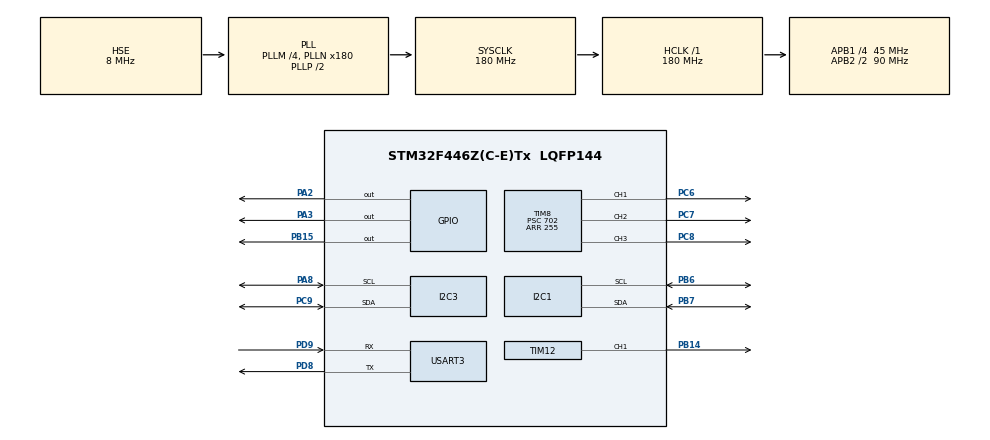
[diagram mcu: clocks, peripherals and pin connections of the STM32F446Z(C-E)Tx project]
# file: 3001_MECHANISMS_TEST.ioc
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Mcu.Family=STM32F4
Mcu.Name=STM32F446Z(C-E)Tx
Mcu.Package=LQFP144
NVIC.PriorityGroup=NVIC_PRIORITYGROUP_4
PA0-WKUP.Signal=S_TIM5_CH1
PA1.Signal=S_TIM5_CH2
PA2.Signal=GPIO_Output
PA3.Signal=GPIO_Output
PA8.Mode=I2C
PA8.Signal=I2C3_SCL
PB14.Signal=S_TIM12_CH1
PB15.Signal=GPIO_Output
PB6.Mode=I2C
PB6.Signal=I2C1_SCL
PB7.Mode=I2C
PB7.Signal=I2C1_SDA
PC14-OSC32_IN.Mode=LSE-External-Oscillator
PC14-OSC32_IN.Signal=RCC_OSC32_IN
PC15-OSC32_OUT.Mode=LSE-External-Oscillator
PC15-OSC32_OUT.Signal=RCC_OSC32_OUT
PC6.Signal=S_TIM8_CH1
PC7.Signal=S_TIM8_CH2
PC8.Signal=S_TIM8_CH3
PC9.Mode=I2C
PC9.Signal=I2C3_SDA
PD8.Mode=Asynchronous
PD8.Signal=USART3_TX
PD9.Mode=Asynchronous
PD9.Signal=USART3_RX
PH0-OSC_IN.Mode=HSE-External-Oscillator
PH0-OSC_IN.Signal=RCC_OSC_IN
PH1-OSC_OUT.Mode=HSE-External-Oscillator
PH1-OSC_OUT.Signal=RCC_OSC_OUT
ProjectManager.HeapSize=0x200
ProjectManager.StackSize=0x400
ProjectManager.TargetToolchain=STM32CubeIDE
RCC.48MHZClocksFreq_Value=24000000
RCC.AHBFreq_Value=180000000
RCC.APB1CLKDivider=RCC_HCLK_DIV4
RCC.APB1Freq_Value=45000000
RCC.APB1TimFreq_Value=90000000
RCC.APB2CLKDivider=RCC_HCLK_DIV2
RCC.APB2Freq_Value=90000000
RCC.APB2TimFreq_Value=180000000
RCC.CortexFreq_Value=180000000
RCC.HCLKFreq_Value=180000000
RCC.HSE_VALUE=8000000
RCC.HSI_VALUE=16000000
RCC.PLLM=4
RCC.PLLMUL=RCC_PLL_MUL9
RCC.PLLN=180
RCC.PLLSourceVirtual=RCC_PLLSOURCE_HSE
RCC.PRESCALERUSB=RCC_USBCLKSOURCE_PLL_DIV1_5
RCC.SYSCLKFreq_VALUE=180000000
RCC.SYSCLKSource=RCC_SYSCLKSOURCE_PLLCLK
RCC.SYSCLKSourceVirtual=RCC_SYSCLKSOURCE_PLLCLK
RCC.USBFreq_Value=180000000
RCC.VCOOutputFreq_Value=360000000
SH.S_TIM12_CH1.0=TIM12_CH1,PWM Generation1 CH1
SH.S_TIM5_CH1.0=TIM5_CH1
SH.S_TIM5_CH2.0=TIM5_CH2
SH.S_TIM8_CH1.0=TIM8_CH1,PWM Generation1 CH1
SH.S_TIM8_CH2.0=TIM8_CH2,PWM Generation2 CH2
SH.S_TIM8_CH3.0=TIM8_CH3,PWM Generation3 CH3
TIM12.Channel-PWM\ Generation1\ CH1=TIM_CHANNEL_1
TIM12.Prescaler=351
TIM5.Period=255-1
TIM5.Prescaler=351
TIM8.Channel-PWM\ Generation1\ CH1=TIM_CHANNEL_1
TIM8.Channel-PWM\ Generation2\ CH2=TIM_CHANNEL_2
TIM8.Channel-PWM\ Generation3\ CH3=TIM_CHANNEL_3
TIM8.Period=255
TIM8.Prescaler=702
USART3.VirtualMode=VM_ASYNC
VP_TIM12_VS_ClockSourceINT.Mode=Internal
VP_TIM5_VS_ClockSourceINT.Mode=Internal
VP_TIM8_VS_ClockSourceINT.Mode=Internal
board=NUCLEO-F446ZE

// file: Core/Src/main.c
/* USER CODE BEGIN Header */
/**
 ******************************************************************************
 * @file           : main.c
 * @brief          : Main program body
 ******************************************************************************
 * @attention
 *
 * Copyright (c) 2026 STMicroelectronics.
 * All rights reserved.
 *
 * This software is licensed under terms that can be found in the LICENSE file
 * in the root directory of this software component.
 * If no LICENSE file comes with this software, it is provided AS-IS.
 *
 ******************************************************************************
 */
/* USER CODE END Header */
#include "main.h"

/* USER CODE BEGIN Includes */
#include<stdio.h>
#include<stdbool.h>
#include<stdint.h>
#include<string.h>
#include<math.h>
#include<stdlib.h>

#include "Encoderlib.h"
#include "BTS7960.h"
#include "PCA9685.h"
#include "Cytron.h"
#include "SPIT.h"
/* USER CODE END Includes */

/* USER CODE BEGIN PTD */
#define DATA_SIZE 		7
#define SLAVE_ADDR 		8
#define DEADZONE  		20

/* USER CODE END PTD */

/* USER CODE BEGIN PD */
// ================== UTILITY ==================
#define PI          		3.14159265358979323846
#define RADIUS      		1
#define LENGTH      		1
#define MAX_PWM     		120
#define LINEAR_PWM  		50
#define DEADZONE    		20
#define dt          		0.001
#define CYTRON_FORWARD		1
#define CYTRON_BACKWARD     0

typedef struct{
	bool prevState;
	bool flag;
}Button;

// ================== KFS PLACING ==================
BTS KFS_PLACE_MOTOR;
PCA_t PCA;

Button KFSPlaceServo = { 0 };

#define KFS_PLACE_CONVEYOR_SPEED 	60
#define KFS_PLACE_MOTOR_FREQ		1000
#define KFS_PLACE_LPWM_APB_BUS		2
#define KFS_PLACE_RPWM_APB_BUS		2
#define KFS_PLACE_LPWM 				TIM_CHANNEL_2
#define KFS_PLACE_RPWM 				TIM_CHANNEL_3

#define KFS_PLACE_OPEN_ANGLE 		180
#define KFS_PLACE_CLOSE_ANGLE     	0

#define KFS_PLACE_SERVO 			12
#define PCA_FREQ 			50

// ================== STAFF ==================
Cytron STAFF_MOTOR;
PCA_t PCA;

Button StaffGripServo   = { 0 };
Button AttackServo = { 0 };

#define MAX_STAFF_PWM 40

#define GRIP_SERVO_1					0
#define GRIP_SERVO_2					8
#define GRIP_SERVO_3					11
#define GRIP_SERVO_4					1

#define GRIP_SERVO_1_GRIP_ANGLE			180
#define GRIP_SERVO_2_GRIP_ANGLE			110
#define GRIP_SERVO_3_GRIP_ANGLE			180
#define GRIP_SERVO_4_GRIP_ANGLE			180

#define GRIP_SERVO_1_RELEASE_ANGLE		0
#define GRIP_SERVO_2_RELEASE_ANGLE		50
#define GRIP_SERVO_3_RELEASE_ANGLE		0
#define GRIP_SERVO_4_RELEASE_ANGLE		0

#define ATTACK_SERVO_1					0
#define ATTACK_SERVO_2					12
#define ATTACK_SERVO_3					10
#define ATTACK_SERVO_4					2

#define ATTACK_SERVO_1_NORMAL_ANGLE		0
#define ATTACK_SERVO_2_NORMAL_ANGLE		110
#define ATTACK_SERVO_3_NORMAL_ANGLE		15
#define ATTACK_SERVO_4_NORMAL_ANGLE		67

#define ATTACK_SERVO_1_ATTACK_ANGLE		45
#define ATTACK_SERVO_2_ATTACK_ANGLE		110 - 47
#define ATTACK_SERVO_3_ATTACK_ANGLE		58
#define ATTACK_SERVO_4_ATTACK_ANGLE		110

//BTS
//#define STAFF_ROPE_SPEED 				60
//#define STAFF_MOTOR_FREQ				1000
//#define STAFF_LPWM_APB_BUS  			2
//#define STAFF_RPWM_APB_BUS  			2
//#define STAFF_LPWM 						TIM_CHANNEL_2
//#define STAFF_RPWM 						TIM_CHANNEL_3

// CYTRON
#define STAFF_ROPE_SPEED 			60
#define STAFF_PWM_PIN 				PC6					//PC6
#define STAFF_DIR_PIN 				GPIO_PIN_3			//PA3
#define STAFF_GPIO	 				GPIOA
#define STAFF_TIM_CHANNEL			TIM_CHANNEL_1		//TIM8

#define STAFF_SERVO 				12
#define PCA_FREQ 					50

// ================== KFS PICKING  ==================
Cytron KFS_PICK_TURRET_MOTOR;
Cytron KFS_PICK_BELT_MOTOR;
PCA_t PCA;

// BTS
//#define KFS_PICK_BELT_SPEED 			60
//#define KFS_PICK_BELT_MOTOR_FREQ		1000
//#define KFS_PICK_BELT_LPWM_APB_BUS  	2
//#define KFS_PICK_BELT_RPWM_APB_BUS  	2
//#define KFS_PICK_BELT_LPWM 				TIM_CHANNEL_2
//#define KFS_PICK_BELT_RPWM 				TIM_CHANNEL_3
//
//#define KFS_PICK_TURRET_SPEED 			60
//#define KFS_PICK_TURRET_MOTOR_FREQ		1000
//#define KFS_PICK_TURRET_LPWM_APB_BUS  	2
//#define KFS_PICK_TURRET_RPWM_APB_BUS  	2
//#define KFS_PICK_TURRET_LPWM 			TIM_CHANNEL_2
//#define KFS_PICK_TURRET_RPWM 			TIM_CHANNEL_3

// CYTRON
#define KFS_PICK_BELT_SPEED 			60
#define KFS_PICK_BELT_PWM_PIN 			PB14		//PB14
#define KFS_PICK_BELT_DIR_PIN 			GPIO_PIN_15		//PB15
#define KFS_PICK_BELT_GPIO	 			GPIOD
#define KFS_PICK_BELT_TIM_CHANNEL		TIM_CHANNEL_1

// CYTRON
#define KFS_PICK_TURRET_SPEED 			60
#define KFS_PICK_TURRET_PWM_PIN 		PA1		//PA1
#define KFS_PICK_TURRET_DIR_PIN 		GPIO_PIN_2		//PA2
#define KFS_PICK_TURRET_GPIO	 		GPIOA
#define KFS_PICK_TURRET_TIM_CHANNEL		TIM_CHANNEL_2		//TIM5

Button KFSGripServo = { 0 };

#define KFS_PICK_SERVO 					12
#define PCA_FREQ 				50

#define KFS_GRIPPER_1 					4
#define KFS_GRIPPER_2					7

#define KFS_GRIPPER_1_GRIP_ANGLE		60
#define KFS_GRIPPER_2_GRIP_ANGLE		160
#define KFS_GRIPPER_1_RELEASE_ANGLE		160
#define KFS_GRIPPER_2_RELEASE_ANGLE		60

// ================== DATA ==================
int8_t data[DATA_SIZE];
char msg[300];

typedef struct {
	int LX;
	int LY;
	int RX;
	int RY;
	int Omega;

	bool Up;
	bool Right;
	bool Down;
	bool Left;
	bool Triangle;
	bool Circle;
	bool Cross;
	bool Square;

	bool L1;
	bool R1;
	bool L3;
	bool R3;
	bool Share;
	bool Options;
	bool Touchpad;
	bool PS;
} PS4Data;

PS4Data PS4 = { 0 };

int L_joystick_x = 0, L_joystick_y = 0, R_joystick_x = 0, R_joystick_y = 0, omega;
bool right;
bool down;
bool up;
bool left;
bool square;
bool cross;
bool circle;
bool triangle;

bool PS , Touchpad , Options , Share , R3 , L3 , R1 , L1;

// ================== PCA ==================
//#define PCA9685_ADDR 	(0x40 << 1) // PCA9685 I2C Address (shifted for STM32)
//#define MODE1_REG    	0x00
//#define PRESCALE_REG 	0xFE
//#define LED0_ON_L    	0x06

/* USER CODE END PD */

I2C_HandleTypeDef hi2c1;
I2C_HandleTypeDef hi2c3;

TIM_HandleTypeDef htim5;
TIM_HandleTypeDef htim8;
TIM_HandleTypeDef htim12;

UART_HandleTypeDef huart3;

void SystemClock_Config(void);
static void MX_GPIO_Init(void);
static void MX_USART3_UART_Init(void);
static void MX_TIM5_Init(void);
static void MX_TIM8_Init(void);
static void MX_I2C3_Init(void);
static void MX_I2C1_Init(void);
static void MX_TIM12_Init(void);
/* USER CODE BEGIN PFP */
float Radians(float angle);
float Degrees(float angle);
float NormalizeAngle(float angle);
float constrain(float num, float min, float max);
long map(long x, long in_min, long in_max, long out_min, long out_max);

/* USER CODE END PFP */

/* USER CODE BEGIN 0 */
// ===================== UTILITY =====================
float Radians(float angle) {
    return angle * 2 * PI / 360.0f;
}

float Degrees(float angle) {
    return angle * 360.0f / (2 * PI);
}

//long map(long x, long in_min, long in_max, long out_min, long out_max) {
//    return (x - in_min) * (out_max - out_min) / (in_max - in_min) + out_min;
//}

float constrain(float num, float min, float max) {
    if (num > max) 					return max;
    else if (num < min) 			return min;
    else 							return num;
}

float NormalizeAngle(float angle) {
    if (angle > 180.0f)  			angle -= 360.0f;
    if (angle < -180.0f) 			angle += 360.0f;
    return angle;
}

//void get_value() {
//	if(HAL_OK == (HAL_I2C_Master_Receive(&hi2c1, SLAVE_ADDR << 1, (uint8_t*) data, DATA_SIZE, HAL_MAX_DELAY))){
//		PS4.Up 				= ((data[0] & (1 << 0)) ? 1 : 0);
//		PS4.Right 			= ((data[0] & (1 << 1)) ? 1 : 0);
//		PS4.Down 			= ((data[0] & (1 << 2)) ? 1 : 0);
//		PS4.Left 			= ((data[0] & (1 << 3)) ? 1 : 0);
//		PS4.Triangle 		= ((data[0] & (1 << 4)) ? 1 : 0);
//		PS4.Circle 			= ((data[0] & (1 << 5)) ? 1 : 0);
//		PS4.Cross 			= ((data[0] & (1 << 6)) ? 1 : 0);
//		PS4.Square 			= ((data[0] & (1 << 7)) ? 1 : 0);
//
//		PS4.L1 				= ((data[1] & (1 << 0)) ? 1 : 0);
//		PS4.R1 				= ((data[1] & (1 << 1)) ? 1 : 0);
//		PS4.L3 				= ((data[1] & (1 << 2)) ? 1 : 0);
//		PS4.R3 				= ((data[1] & (1 << 3)) ? 1 : 0);
//		PS4.Share 			= ((data[1] & (1 << 4)) ? 1 : 0);
//		PS4.Options 		= ((data[1] & (1 << 5)) ? 1 : 0);
//		PS4.Touchpad 		= ((data[1] & (1 << 6)) ? 1 : 0);
//		PS4.PS 				= ((data[1] & (1 << 7)) ? 1 : 0);
//
//		PS4.LX 				= data[2];
//		PS4.LY 				= data[3];
//		PS4.RX 				= data[4];
//		PS4.RY 				= data[5];
//		PS4.Omega 			= data[6];
//
//		if (abs(PS4.LX) < DEADZONE) {
//			PS4.LX = 0;
//		}
//		if (abs(PS4.LY) < DEADZONE) {
//			PS4.LY = 0;
//		}
//		if (abs(PS4.Omega) < DEADZONE) {
//			PS4.Omega = 0;
//		}
////
////		sprintf(msg,"SQ %d  X %d  O %d  TRI %d  LEFT %d  RIGHT %d  UP %d  DOWN %d  PS %d  TOUCH %d  OPT %d  SHARE %d  R3 %d  L3 %d  R1 %d  L1 %d  LX %d  LY %d  RX %d  RY %d  OMEGA %d\r\n",
////				PS4.Square, 	PS4.Cross, 		PS4.Circle, 	PS4.Triangle,
////				PS4.Left,		PS4.Down, 		PS4.Right, 		PS4.Up,
////				PS4.PS,			PS4.Touchpad,	PS4.Options,	PS4.Share,
////				PS4.R3, 		PS4.L3, 		PS4.R1, 		PS4.L1,
////				PS4.LX,	PS4.LY, 	PS4.RX, 	PS4.RY, 	PS4.Omega);
////		HAL_UART_Transmit(&huart3, (uint8_t*) msg, strlen(msg), HAL_MAX_DELAY);
//
////		spitf("SQ %d  X %d  O %d  TRI %d  LEFT %d  RIGHT %d  UP %d  DOWN %d  PS %d  TOUCH %d  OPT %d  SHARE %d  R3 %d  L3 %d  R1 %d  L1 %d  LX %d  LY %d  RX %d  RY %d  OMEGA %d\r\n",
////				PS4.Square, 	PS4.Cross, 		PS4.Circle, 	PS4.Triangle,
////				PS4.Left,		PS4.Down, 		PS4.Right, 		PS4.Up,
////				PS4.PS,			PS4.Touchpad,	PS4.Options,	PS4.Share,
////				PS4.R3, 		PS4.L3, 		PS4.R1, 		PS4.L1,
////				PS4.LX,	PS4.LY, 	PS4.RX, 	PS4.RY, 	PS4.Omega);
//
//		sprintf(msg,"SQ %d  X %d  O %d  TRI %d  LEFT %d  RIGHT %d  UP %d  DOWN %d  PS %d  TOUCH %d  OPT %d  SHARE %d  R3 %d  L3 %d  R1 %d  L1 %d  LX %d  LY %d  RX %d  RY %d  OMEGA %d\r\n",
//		        PS4.Square,  PS4.Cross,    PS4.Circle,   PS4.Triangle,
//		        PS4.Left,    PS4.Right,    PS4.Up,       PS4.Down,
//		        PS4.PS,      PS4.Touchpad, PS4.Options,  PS4.Share,
//		        PS4.R3,      PS4.L3,       PS4.R1,       PS4.L1,
//		        PS4.LX,      PS4.LY,       PS4.RX,       PS4.RY, PS4.Omega);
//	}
//	else{
//		sprintf(msg, "I2C NOT OK!");
//		HAL_UART_Transmit(&huart3, (uint8_t*) msg, strlen(msg), HAL_MAX_DELAY);
//	}
//}

void get_value(){

      if(HAL_OK == (HAL_I2C_Master_Receive(&hi2c1, SLAVE_ADDR << 1, (uint8_t*) data, DATA_SIZE, HAL_MAX_DELAY))){

    	  	 up = ((data[0] & (1 << 0)) ? 1 : 0);
	 	     right = ((data[0] & (1 << 1)) ? 1 : 0);
	 	     down = ((data[0] & (1 << 2)) ? 1 : 0);
	 	     left = ((data[0] & (1 << 3)) ? 1 : 0);
	         triangle = ((data[0] & (1 << 4)) ? 1 : 0);
	   	     circle = ((data[0] & (1 << 5)) ? 1 : 0);
	   	     cross = ((data[0] & (1 << 6)) ? 1 : 0);
	   	     square = ((data[0] & (1 << 7)) ? 1 : 0);

	   	  L1 = ((data[1] & (1 << 0)) ? 1 : 0);
	   	  R1 = ((data[1] & (1 << 1)) ? 1 : 0);
	   	  L3 = ((data[1] & (1 << 2)) ? 1 : 0);
	   	  R3 = ((data[1] & (1 << 3)) ? 1 : 0);
	   	  Share = ((data[1] & (1 << 4)) ? 1 : 0);
	   	  Options = ((data[1] & (1 << 5)) ? 1 : 0);
	   	  Touchpad = ((data[1] & (1 << 6)) ? 1 : 0);
	   	  PS = ((data[1] & (1 << 7)) ? 1 : 0);

	            omega = data[6];
	            R_joystick_y = data[5];
	            R_joystick_x = data[4];
	            L_joystick_x = data[2];
	            L_joystick_y = data[3];

	            if(abs(L_joystick_x) < DEADZONE)
	              	 	  {
	              	 		  L_joystick_x = 0;
	              	 	  }
	              	 	  if(abs(L_joystick_y) < DEADZONE)
	              	 		  {
	              	 			  L_joystick_y = 0;
	              	 		  }
	              	 	  if(abs(omega) < DEADZONE)
	              	 		  {
	              	 			  omega = 0;
	              	 		  }

                  sprintf(msg," sq %d x %d o %d tri %d left %d down %d right %d up %d  PS %d Touchpad %d Options %d Share %d R3 %d L3 %d R1 %d L1 %d lx %d ly %d rx %d ry%d omega %d \r\n",square, cross, circle, triangle, left, down, right, up, PS , Touchpad , Options , Share , R3 , L3 , R1 , L1, L_joystick_x, L_joystick_y, R_joystick_x, R_joystick_y, omega);

	              	 	//sprintf(msg,"%d   %d\r\n" data[4], data[5]);
	  	  HAL_UART_Transmit(&huart3, (uint8_t*)msg, strlen(msg), HAL_MAX_DELAY);

      }
      }

//=================== KFS PLACING ===================
void KFS_PLACE_Motor(){
	if(PS4.L1){
		RotateMotor(&KFS_PLACE_MOTOR,   KFS_PLACE_CONVEYOR_SPEED);
//		sprintf(msg, "L1 Pushed!\r\n");
//		HAL_UART_Transmit(&huart3, (uint8_t*) msg, sizeof(msg), 100);
	}
	else if(PS4.R1){
		RotateMotor(&KFS_PLACE_MOTOR,   -KFS_PLACE_CONVEYOR_SPEED);
//		sprintf(msg, "R1 Pushed!\r\n");
//		HAL_UART_Transmit(&huart3, (uint8_t*) msg, sizeof(msg), 100);
	}
	else{
		StopMotor(&KFS_PLACE_MOTOR);
//		sprintf(msg, "STOP!!!\r\n");
//		HAL_UART_Transmit(&huart3, (uint8_t*) msg, sizeof(msg), 100);
	}
}

void KFS_PLACE_Servo(){
// 	WITHOUT TOGGLE
//	if(PS4.L3){
//		RotateServo(&PCA, KFS_PLACE_SERVO, KFS_PLACE_OPEN_ANGLE);
////		sprintf(msg, "L3 Pushed!\r\n");
////		HAL_UART_Transmit(&huart3, (uint8_t*) msg, sizeof(msg), 100);
//	}
//	if(PS4.R3){
//		RotateServo(&PCA, KFS_PLACE_SERVO, KFS_PLACE_CLOSE_ANGLE);
////		sprintf(msg, "R3 Pushed!\r\n");
////		HAL_UART_Transmit(&huart3, (uint8_t*) msg, sizeof(msg), 100);
//	}

	// GRIP SERVO
	if(PS4.Cross && !KFSPlaceServo.prevState){
		KFSPlaceServo.prevState = true;
		KFSPlaceServo.flag 		= !KFSPlaceServo.flag;

		if(KFSPlaceServo.flag){
			RotateServo(&PCA, KFS_PLACE_SERVO, KFS_PLACE_OPEN_ANGLE);
		}
		else{
			RotateServo(&PCA, KFS_PLACE_SERVO, KFS_PLACE_CLOSE_ANGLE);
		}
	}
	else if (!PS4.Cross){
		KFSPlaceServo.prevState = false;
	}
}

void KFS_PLACE_Motion(){
	KFS_PLACE_Motor();
	KFS_PLACE_Servo();
}

//=================== STAFF PICKING ===================
void STAFF_Motor(){
	if(PS4.RY){
		int16_t beltSpeed = (int16_t)constrain(PS4.RY, -MAX_STAFF_PWM, MAX_STAFF_PWM);
		RotateCytron(&STAFF_MOTOR, beltSpeed);
	}
	else{
		StopCytron(&STAFF_MOTOR);
	}
}

void STAFF_Servo(){
	// GRIP SERVO
	if(PS4.Square && !StaffGripServo.prevState){
		StaffGripServo.prevState = true;
		StaffGripServo.flag 		= !StaffGripServo.flag;

		if(StaffGripServo.flag){
//			RotateServo(&PCA, GRIP_SERVO_1, GRIP_SERVO_1_GRIP_ANGLE);
			RotateServo(&PCA, GRIP_SERVO_2, GRIP_SERVO_2_GRIP_ANGLE);
			RotateServo(&PCA, GRIP_SERVO_3, GRIP_SERVO_3_GRIP_ANGLE);
			RotateServo(&PCA, GRIP_SERVO_4, GRIP_SERVO_4_GRIP_ANGLE);
		}
		else{
//			RotateServo(&PCA, GRIP_SERVO_1, GRIP_SERVO_1_RELEASE_ANGLE);
			RotateServo(&PCA, GRIP_SERVO_2, GRIP_SERVO_2_RELEASE_ANGLE);
			RotateServo(&PCA, GRIP_SERVO_3, GRIP_SERVO_3_RELEASE_ANGLE);
			RotateServo(&PCA, GRIP_SERVO_4, GRIP_SERVO_4_RELEASE_ANGLE);
		}
	}
	else if (!PS4.Square){
		StaffGripServo.prevState = false;
	}

	// ATTACK SERVO
	if(PS4.Triangle && !AttackServo.prevState){
		AttackServo.prevState = true;
		AttackServo.flag 	  = !AttackServo.flag;

		if(AttackServo.flag){
//			RotateServo(&PCA, ATTACK_SERVO_1, ATTACK_SERVO_1_ATTACK_ANGLE);
//			RotateServo(&PCA, ATTACK_SERVO_2, ATTACK_SERVO_2_ATTACK_ANGLE);
//			RotateServo(&PCA, ATTACK_SERVO_3, ATTACK_SERVO_3_ATTACK_ANGLE);
			RotateServo(&PCA, ATTACK_SERVO_4, ATTACK_SERVO_4_ATTACK_ANGLE);
		}
		else{
//			RotateServo(&PCA, ATTACK_SERVO_1, ATTACK_SERVO_1_NORMAL_ANGLE);
//			RotateServo(&PCA, ATTACK_SERVO_2, ATTACK_SERVO_2_NORMAL_ANGLE);
//			RotateServo(&PCA, ATTACK_SERVO_3, ATTACK_SERVO_3_NORMAL_ANGLE);
			RotateServo(&PCA, ATTACK_SERVO_4, ATTACK_SERVO_4_NORMAL_ANGLE);
		}
	}
	else if(!PS4.Triangle){
		AttackServo.prevState = false;
	}

}

void STAFF_Motion(){
	STAFF_Motor();
//	STAFF_Servo();
}

//================== KFS_PLACE PICKING ==================
void KFS_PICK_Motor(){
	// BELT-MOTOR
	if(PS4.Up){
//		RotateMotor(&KFS_PICK_BELT_MOTOR,  KFS_PICK_BELT_SPEED);		// BTS
		RotateCytron(&KFS_PICK_BELT_MOTOR,   KFS_PICK_BELT_SPEED);
	}
	else if(PS4.Down){
//		RotateMotor(&KFS_PICK_BELT_MOTOR, -KFS_PICK_BELT_SPEED);		//BTS
		RotateCytron(&KFS_PICK_BELT_MOTOR,  -KFS_PICK_BELT_SPEED);
	}
	else{
//		StopMotor(&KFS_PICK_BELT_MOTOR);		//BTS
		StopCytron(&KFS_PICK_BELT_MOTOR);
	}

	// TURRET-MOTOR
	if(PS4.Right){
//		RotateMotor(&KFS_PICK_TURRET_MOTOR,  KFS_PICK_TURRET_SPEED);	//BTS
		RotateCytron(&KFS_PICK_TURRET_MOTOR,   KFS_PICK_TURRET_SPEED);
	}
	else if(PS4.Left){
//		RotateMotor(&KFS_PICK_TURRET_MOTOR, -KFS_PICK_TURRET_SPEED);	//BTS
		RotateCytron(&KFS_PICK_TURRET_MOTOR,  -KFS_PICK_TURRET_SPEED);

	}
	else{
//		StopMotor(&KFS_PICK_TURRET_MOTOR);		//BTS
		StopCytron(&KFS_PICK_TURRET_MOTOR);
	}
}

void KFS_PICK_Servo(){
	if(PS4.Circle && !KFSGripServo.prevState){
		KFSGripServo.prevState = true;
		KFSGripServo.flag 		= !KFSGripServo.flag;

			if(KFSGripServo.flag){
				RotateServo(&PCA, KFS_GRIPPER_1, KFS_GRIPPER_1_GRIP_ANGLE);
				RotateServo(&PCA, KFS_GRIPPER_2, KFS_GRIPPER_2_GRIP_ANGLE);
			}
			else{
				RotateServo(&PCA, KFS_GRIPPER_1, KFS_GRIPPER_1_RELEASE_ANGLE);
				RotateServo(&PCA, KFS_GRIPPER_2, KFS_GRIPPER_2_RELEASE_ANGLE);
			}
		}
		else if (!PS4.Circle){
			KFSGripServo.prevState = false;
		}
}

void KFS_PICK_Motion(){
	KFS_PICK_Motor();
	KFS_PICK_Servo();
}

/* USER CODE END 0 */

int main(void)
{

  /* MCU Configuration--------------------------------------------------------*/

  /* Reset of all peripherals, Initializes the Flash interface and the Systick. */
  HAL_Init();

  /* Configure the system clock */
  SystemClock_Config();

  /* Initialize all configured peripherals */
  MX_GPIO_Init();
  MX_USART3_UART_Init();
  MX_TIM5_Init();
  MX_TIM8_Init();
  MX_I2C3_Init();
  MX_I2C1_Init();
  MX_TIM12_Init();
  /* USER CODE BEGIN 2 */
//	spitDefault(&huart3);
  	InitBTS(&KFS_PLACE_MOTOR, 	&htim8, KFS_PLACE_LPWM, 	KFS_PLACE_LPWM_APB_BUS, 	&htim8,
  			KFS_PLACE_RPWM, 	KFS_PLACE_RPWM_APB_BUS, 	KFS_PLACE_MOTOR_FREQ);
//  	InitBTS(&STAFF_MOTOR, 		&htim8, KFS_PLACE_LPWM, 	STAFF_LPWM_APB_BUS, 		&htim8,
//  			STAFF_RPWM, 		STAFF_RPWM_APB_BUS, 		STAFF_MOTOR_FREQ);

  	// BTS
//  	InitBTS(&KFS_PICK_BELT_MOTOR, 		&htim8, 	KFS_PICK_BELT_LPWM, 	KFS_PICK_BELT_LPWM_APB_BUS, 	&htim8,
//  			KFS_PICK_BELT_RPWM, 		KFS_PICK_BELT_RPWM_APB_BUS, 		KFS_PICK_BELT_MOTOR_FREQ);
//	InitBTS(&KFS_PICK_TURRET_MOTOR, 	&htim8, 	KFS_PICK_TURRET_LPWM, 	KFS_PICK_TURRET_LPWM_APB_BUS, 	&htim8,
//			KFS_PICK_TURRET_RPWM, 		KFS_PICK_TURRET_RPWM_APB_BUS, 		KFS_PICK_TURRET_MOTOR_FREQ);

  	// CYTRON
  	InitCytron(&KFS_PICK_BELT_MOTOR, 		&htim8, 				KFS_PICK_BELT_TIM_CHANNEL,
  				KFS_PICK_BELT_GPIO, 		KFS_PICK_BELT_DIR_PIN, 	CYTRON_FORWARD);
  	InitCytron(&KFS_PICK_TURRET_MOTOR, 		&htim8, 				KFS_PICK_TURRET_TIM_CHANNEL,
  				KFS_PICK_TURRET_GPIO, 		KFS_PICK_TURRET_DIR_PIN, CYTRON_FORWARD);
  	InitCytron(&STAFF_MOTOR, 				&htim8, 				STAFF_TIM_CHANNEL,
  				STAFF_GPIO, 				STAFF_DIR_PIN, 			CYTRON_FORWARD);

	InitPCA(&PCA, 	&hi2c3, 		PCA_FREQ);
//	InitPCA(&PCA, 		&hi2c3, 		PCA_FREQ);
//	InitPCA(&PCA, 		&hi2c3, 		PCA_FREQ);
  /* USER CODE END 2 */

  /* Infinite loop */
	while (1) {

    /* USER CODE BEGIN 3 */

		get_value();
		KFS_PLACE_Motion();
		KFS_PICK_Motion();
		STAFF_Motion();

//		RotateMotor(&KFS_PLACE_MOTOR, 50);
//		RotateMotor(&KFS_PLACE_MOTOR,   -KFS_PLACE_CONVEYOR_SPEED);

//		HAL_GPIO_WritePin(GPIOC, GPIO_PIN_8, 1);
//		HAL_GPIO_WritePin(GPIOC, GPIO_PIN_7, 1);

//		HAL_Delay(10);

	}
  /* USER CODE END 3 */
}

void SystemClock_Config(void)
{
  RCC_OscInitTypeDef RCC_OscInitStruct = {0};
  RCC_ClkInitTypeDef RCC_ClkInitStruct = {0};

  /** Configure the main internal regulator output voltage
  */
  __HAL_RCC_PWR_CLK_ENABLE();
  __HAL_PWR_VOLTAGESCALING_CONFIG(PWR_REGULATOR_VOLTAGE_SCALE1);

  /** Initializes the RCC Oscillators according to the specified parameters
  * in the RCC_OscInitTypeDef structure.
  */
  RCC_OscInitStruct.OscillatorType = RCC_OSCILLATORTYPE_HSE;
  RCC_OscInitStruct.HSEState = RCC_HSE_ON;
  RCC_OscInitStruct.PLL.PLLState = RCC_PLL_ON;
  RCC_OscInitStruct.PLL.PLLSource = RCC_PLLSOURCE_HSE;
  RCC_OscInitStruct.PLL.PLLM = 4;
  RCC_OscInitStruct.PLL.PLLN = 180;
  RCC_OscInitStruct.PLL.PLLP = RCC_PLLP_DIV2;
  RCC_OscInitStruct.PLL.PLLQ = 2;
  RCC_OscInitStruct.PLL.PLLR = 2;
  if (HAL_RCC_OscConfig(&RCC_OscInitStruct) != HAL_OK)
  {
    Error_Handler();
  }

  /** Activate the Over-Drive mode
  */
  if (HAL_PWREx_EnableOverDrive() != HAL_OK)
  {
    Error_Handler();
  }

  /** Initializes the CPU, AHB and APB buses clocks
  */
  RCC_ClkInitStruct.ClockType = RCC_CLOCKTYPE_HCLK|RCC_CLOCKTYPE_SYSCLK
                              |RCC_CLOCKTYPE_PCLK1|RCC_CLOCKTYPE_PCLK2;
  RCC_ClkInitStruct.SYSCLKSource = RCC_SYSCLKSOURCE_PLLCLK;
  RCC_ClkInitStruct.AHBCLKDivider = RCC_SYSCLK_DIV1;
  RCC_ClkInitStruct.APB1CLKDivider = RCC_HCLK_DIV4;
  RCC_ClkInitStruct.APB2CLKDivider = RCC_HCLK_DIV2;

  if (HAL_RCC_ClockConfig(&RCC_ClkInitStruct, FLASH_LATENCY_5) != HAL_OK)
  {
    Error_Handler();
  }
}

static void MX_I2C1_Init(void)
{

  hi2c1.Instance = I2C1;
  hi2c1.Init.ClockSpeed = 100000;
  hi2c1.Init.DutyCycle = I2C_DUTYCYCLE_2;
  hi2c1.Init.OwnAddress1 = 0;
  hi2c1.Init.AddressingMode = I2C_ADDRESSINGMODE_7BIT;
  hi2c1.Init.DualAddressMode = I2C_DUALADDRESS_DISABLE;
  hi2c1.Init.OwnAddress2 = 0;
  hi2c1.Init.GeneralCallMode = I2C_GENERALCALL_DISABLE;
  hi2c1.Init.NoStretchMode = I2C_NOSTRETCH_DISABLE;
  if (HAL_I2C_Init(&hi2c1) != HAL_OK)
  {
    Error_Handler();
  }

}

static void MX_I2C3_Init(void)
{

  hi2c3.Instance = I2C3;
  hi2c3.Init.ClockSpeed = 100000;
  hi2c3.Init.DutyCycle = I2C_DUTYCYCLE_2;
  hi2c3.Init.OwnAddress1 = 0;
  hi2c3.Init.AddressingMode = I2C_ADDRESSINGMODE_7BIT;
  hi2c3.Init.DualAddressMode = I2C_DUALADDRESS_DISABLE;
  hi2c3.Init.OwnAddress2 = 0;
  hi2c3.Init.GeneralCallMode = I2C_GENERALCALL_DISABLE;
  hi2c3.Init.NoStretchMode = I2C_NOSTRETCH_DISABLE;
  if (HAL_I2C_Init(&hi2c3) != HAL_OK)
  {
    Error_Handler();
  }

}

static void MX_TIM5_Init(void)
{

  TIM_ClockConfigTypeDef sClockSourceConfig = {0};
  TIM_MasterConfigTypeDef sMasterConfig = {0};

  htim5.Instance = TIM5;
  htim5.Init.Prescaler = 351;
  htim5.Init.CounterMode = TIM_COUNTERMODE_UP;
  htim5.Init.Period = 255-1;
  htim5.Init.ClockDivision = TIM_CLOCKDIVISION_DIV1;
  htim5.Init.AutoReloadPreload = TIM_AUTORELOAD_PRELOAD_DISABLE;
  if (HAL_TIM_Base_Init(&htim5) != HAL_OK)
  {
    Error_Handler();
  }
  sClockSourceConfig.ClockSource = TIM_CLOCKSOURCE_INTERNAL;
  if (HAL_TIM_ConfigClockSource(&htim5, &sClockSourceConfig) != HAL_OK)
  {
    Error_Handler();
  }
  sMasterConfig.MasterOutputTrigger = TIM_TRGO_RESET;
  sMasterConfig.MasterSlaveMode = TIM_MASTERSLAVEMODE_DISABLE;
  if (HAL_TIMEx_MasterConfigSynchronization(&htim5, &sMasterConfig) != HAL_OK)
  {
    Error_Handler();
  }

}

static void MX_TIM8_Init(void)
{

  TIM_ClockConfigTypeDef sClockSourceConfig = {0};
  TIM_MasterConfigTypeDef sMasterConfig = {0};
  TIM_OC_InitTypeDef sConfigOC = {0};
  TIM_BreakDeadTimeConfigTypeDef sBreakDeadTimeConfig = {0};

  htim8.Instance = TIM8;
  htim8.Init.Prescaler = 702;
  htim8.Init.CounterMode = TIM_COUNTERMODE_UP;
  htim8.Init.Period = 255;
  htim8.Init.ClockDivision = TIM_CLOCKDIVISION_DIV1;
  htim8.Init.RepetitionCounter = 0;
  htim8.Init.AutoReloadPreload = TIM_AUTORELOAD_PRELOAD_DISABLE;
  if (HAL_TIM_Base_Init(&htim8) != HAL_OK)
  {
    Error_Handler();
  }
  sClockSourceConfig.ClockSource = TIM_CLOCKSOURCE_INTERNAL;
  if (HAL_TIM_ConfigClockSource(&htim8, &sClockSourceConfig) != HAL_OK)
  {
    Error_Handler();
  }
  if (HAL_TIM_PWM_Init(&htim8) != HAL_OK)
  {
    Error_Handler();
  }
  sMasterConfig.MasterOutputTrigger = TIM_TRGO_RESET;
  sMasterConfig.MasterSlaveMode = TIM_MASTERSLAVEMODE_DISABLE;
  if (HAL_TIMEx_MasterConfigSynchronization(&htim8, &sMasterConfig) != HAL_OK)
  {
    Error_Handler();
  }
  sConfigOC.OCMode = TIM_OCMODE_PWM1;
  sConfigOC.Pulse = 0;
  sConfigOC.OCPolarity = TIM_OCPOLARITY_HIGH;
  sConfigOC.OCNPolarity = TIM_OCNPOLARITY_HIGH;
  sConfigOC.OCFastMode = TIM_OCFAST_DISABLE;
  sConfigOC.OCIdleState = TIM_OCIDLESTATE_RESET;
  sConfigOC.OCNIdleState = TIM_OCNIDLESTATE_RESET;
  if (HAL_TIM_PWM_ConfigChannel(&htim8, &sConfigOC, TIM_CHANNEL_1) != HAL_OK)
  {
    Error_Handler();
  }
  if (HAL_TIM_PWM_ConfigChannel(&htim8, &sConfigOC, TIM_CHANNEL_2) != HAL_OK)
  {
    Error_Handler();
  }
  if (HAL_TIM_PWM_ConfigChannel(&htim8, &sConfigOC, TIM_CHANNEL_3) != HAL_OK)
  {
    Error_Handler();
  }
  sBreakDeadTimeConfig.OffStateRunMode = TIM_OSSR_DISABLE;
  sBreakDeadTimeConfig.OffStateIDLEMode = TIM_OSSI_DISABLE;
  sBreakDeadTimeConfig.LockLevel = TIM_LOCKLEVEL_OFF;
  sBreakDeadTimeConfig.DeadTime = 0;
  sBreakDeadTimeConfig.BreakState = TIM_BREAK_DISABLE;
  sBreakDeadTimeConfig.BreakPolarity = TIM_BREAKPOLARITY_HIGH;
  sBreakDeadTimeConfig.AutomaticOutput = TIM_AUTOMATICOUTPUT_DISABLE;
  if (HAL_TIMEx_ConfigBreakDeadTime(&htim8, &sBreakDeadTimeConfig) != HAL_OK)
  {
    Error_Handler();
  }
  HAL_TIM_MspPostInit(&htim8);

}

static void MX_TIM12_Init(void)
{

  TIM_ClockConfigTypeDef sClockSourceConfig = {0};
  TIM_OC_InitTypeDef sConfigOC = {0};

  htim12.Instance = TIM12;
  htim12.Init.Prescaler = 351;
  htim12.Init.CounterMode = TIM_COUNTERMODE_UP;
  htim12.Init.Period = 65535;
  htim12.Init.ClockDivision = TIM_CLOCKDIVISION_DIV1;
  htim12.Init.AutoReloadPreload = TIM_AUTORELOAD_PRELOAD_DISABLE;
  if (HAL_TIM_Base_Init(&htim12) != HAL_OK)
  {
    Error_Handler();
  }
  sClockSourceConfig.ClockSource = TIM_CLOCKSOURCE_INTERNAL;
  if (HAL_TIM_ConfigClockSource(&htim12, &sClockSourceConfig) != HAL_OK)
  {
    Error_Handler();
  }
  if (HAL_TIM_PWM_Init(&htim12) != HAL_OK)
  {
    Error_Handler();
  }
  sConfigOC.OCMode = TIM_OCMODE_PWM1;
  sConfigOC.Pulse = 0;
  sConfigOC.OCPolarity = TIM_OCPOLARITY_HIGH;
  sConfigOC.OCFastMode = TIM_OCFAST_DISABLE;
  if (HAL_TIM_PWM_ConfigChannel(&htim12, &sConfigOC, TIM_CHANNEL_1) != HAL_OK)
  {
    Error_Handler();
  }
  HAL_TIM_MspPostInit(&htim12);

}

static void MX_USART3_UART_Init(void)
{

  huart3.Instance = USART3;
  huart3.Init.BaudRate = 115200;
  huart3.Init.WordLength = UART_WORDLENGTH_8B;
  huart3.Init.StopBits = UART_STOPBITS_1;
  huart3.Init.Parity = UART_PARITY_NONE;
  huart3.Init.Mode = UART_MODE_TX_RX;
  huart3.Init.HwFlowCtl = UART_HWCONTROL_NONE;
  huart3.Init.OverSampling = UART_OVERSAMPLING_16;
  if (HAL_UART_Init(&huart3) != HAL_OK)
  {
    Error_Handler();
  }

}

static void MX_GPIO_Init(void)
{
  GPIO_InitTypeDef GPIO_InitStruct = {0};

  /* GPIO Ports Clock Enable */
  __HAL_RCC_GPIOC_CLK_ENABLE();
  __HAL_RCC_GPIOH_CLK_ENABLE();
  __HAL_RCC_GPIOA_CLK_ENABLE();
  __HAL_RCC_GPIOB_CLK_ENABLE();
  __HAL_RCC_GPIOD_CLK_ENABLE();

  /*Configure GPIO pin Output Level */
  HAL_GPIO_WritePin(GPIOA, GPIO_PIN_2|GPIO_PIN_3, GPIO_PIN_RESET);

  /*Configure GPIO pin Output Level */
  HAL_GPIO_WritePin(GPIOB, GPIO_PIN_15, GPIO_PIN_RESET);

  /*Configure GPIO pins : PA2 PA3 */
  GPIO_InitStruct.Pin = GPIO_PIN_2|GPIO_PIN_3;
  GPIO_InitStruct.Mode = GPIO_MODE_OUTPUT_PP;
  GPIO_InitStruct.Pull = GPIO_NOPULL;
  GPIO_InitStruct.Speed = GPIO_SPEED_FREQ_LOW;
  HAL_GPIO_Init(GPIOA, &GPIO_InitStruct);

  /*Configure GPIO pin : PB15 */
  GPIO_InitStruct.Pin = GPIO_PIN_15;
  GPIO_InitStruct.Mode = GPIO_MODE_OUTPUT_PP;
  GPIO_InitStruct.Pull = GPIO_NOPULL;
  GPIO_InitStruct.Speed = GPIO_SPEED_FREQ_LOW;
  HAL_GPIO_Init(GPIOB, &GPIO_InitStruct);

}

void Error_Handler(void)
{
	__disable_irq();
	while (1) {
	}
}
